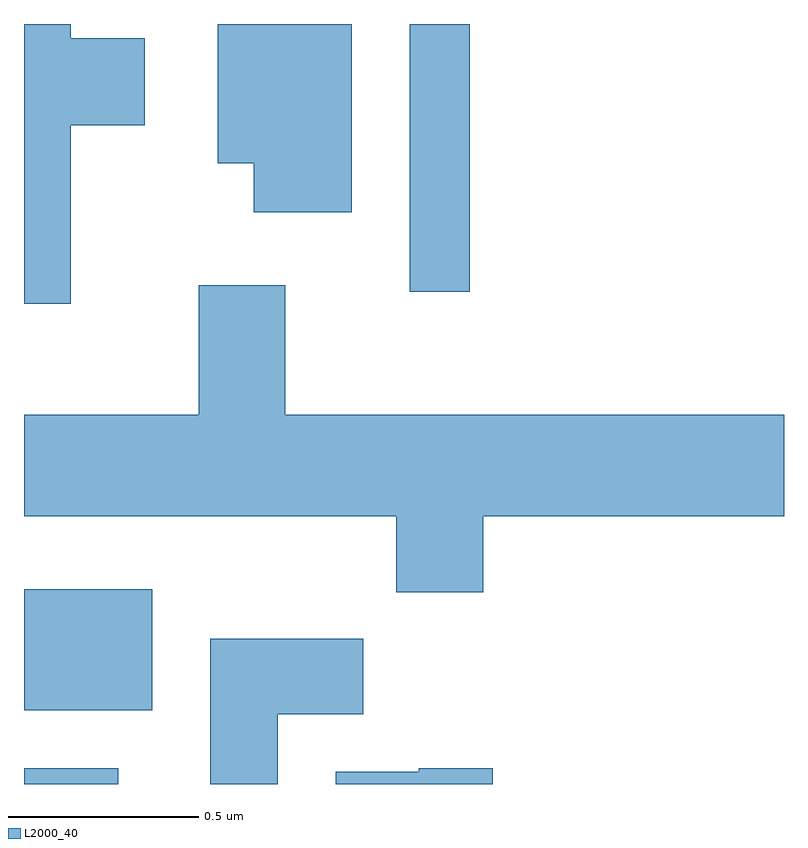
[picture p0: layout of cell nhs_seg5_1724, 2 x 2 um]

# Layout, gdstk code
import gdstk
lib = gdstk.Library(unit=1e-6, precision=1e-09)
def R(c, l, rs):  # rectangles x0, y0, x1, y1
    for r in rs: c.add(gdstk.rectangle(r[:2], r[2:], *l))
def P(c, l, *ps):  # polygons
    for p in ps: c.add(gdstk.Polygon(p, *l))
L2000_40 = (2000, 40)

nhs_seg5_1724 = lib.new_cell('nhs_seg5_1724')
R(nhs_seg5_1724, L2000_40, [(197.611,1476.072,197.859,1476.114), (197.611,1476.266,197.949,1476.584), (198.626,1477.368,198.784,1478.072)])
P(nhs_seg5_1724, L2000_40, [(197.734,1477.806),(197.929,1477.806),(197.929,1478.034),(197.734,1478.034),(197.734,1478.072),(197.611,1478.072),(197.611,1477.336),(197.734,1477.336)],
  [(198.474,1478.072),(198.121,1478.072),(198.121,1477.706),(198.216,1477.706),(198.216,1477.576),(198.474,1477.576)],
  [(198.819,1476.776),(199.611,1476.776),(199.611,1477.044),(198.299,1477.044),(198.299,1477.384),(198.071,1477.384),(198.071,1477.044),(197.611,1477.044),(197.611,1476.776),(198.591,1476.776),(198.591,1476.576),(198.819,1476.576)],
  [(198.279,1476.256),(198.504,1476.256),(198.504,1476.454),(198.101,1476.454),(198.101,1476.072),(198.279,1476.072)],
  [(198.844,1476.114),(198.65,1476.114),(198.65,1476.104),(198.431,1476.104),(198.431,1476.072),(198.844,1476.072)])

lib.write_gds('nhs_seg5_1724.gds')
